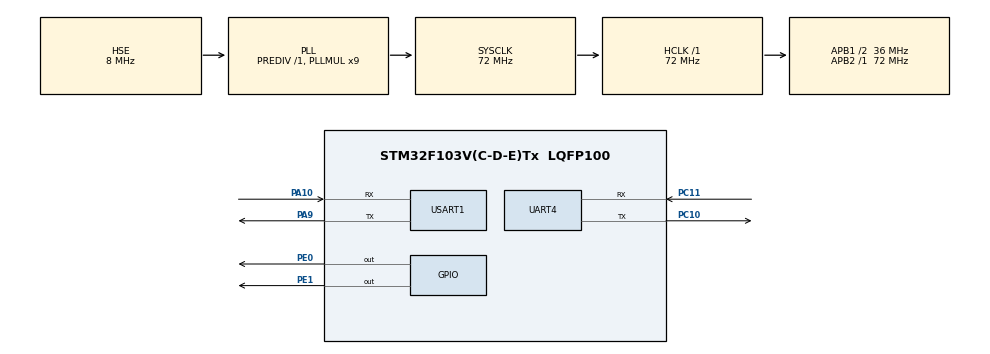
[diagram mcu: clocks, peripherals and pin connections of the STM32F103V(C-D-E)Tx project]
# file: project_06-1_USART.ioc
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Mcu.Family=STM32F1
Mcu.Name=STM32F103V(C-D-E)Tx
Mcu.Package=LQFP100
NVIC.PriorityGroup=NVIC_PRIORITYGROUP_4
NVIC.TIM2_IRQn=true\:0\:0\:false\:false\:true\:true\:true
NVIC.UART4_IRQn=true\:0\:0\:false\:false\:true\:true\:true
NVIC.USART1_IRQn=true\:0\:0\:false\:false\:true\:true\:true
OSC_IN.Mode=HSE-External-Oscillator
OSC_IN.Signal=RCC_OSC_IN
OSC_OUT.Mode=HSE-External-Oscillator
OSC_OUT.Signal=RCC_OSC_OUT
PA10.Mode=Asynchronous
PA10.Signal=USART1_RX
PA13.Mode=Serial_Wire
PA13.Signal=SYS_JTMS-SWDIO
PA14.Mode=Serial_Wire
PA14.Signal=SYS_JTCK-SWCLK
PA9.Mode=Asynchronous
PA9.Signal=USART1_TX
PC10.Mode=Asynchronous
PC10.Signal=UART4_TX
PC11.Mode=Asynchronous
PC11.Signal=UART4_RX
PC14-OSC32_IN.Mode=LSE-External-Oscillator
PC14-OSC32_IN.Signal=RCC_OSC32_IN
PC15-OSC32_OUT.Mode=LSE-External-Oscillator
PC15-OSC32_OUT.Signal=RCC_OSC32_OUT
PE0.Signal=GPIO_Output
PE1.Signal=GPIO_Output
ProjectManager.HeapSize=0x200
ProjectManager.StackSize=0x400
ProjectManager.TargetToolchain=STM32CubeIDE
RCC.AHBFreq_Value=72000000
RCC.APB1CLKDivider=RCC_HCLK_DIV2
RCC.APB1Freq_Value=36000000
RCC.APB1TimFreq_Value=72000000
RCC.APB2Freq_Value=72000000
RCC.APB2TimFreq_Value=72000000
RCC.HCLKFreq_Value=72000000
RCC.PLLMUL=RCC_PLL_MUL9
RCC.PLLSourceVirtual=RCC_PLLSOURCE_HSE
RCC.SYSCLKFreq_VALUE=72000000
RCC.SYSCLKSource=RCC_SYSCLKSOURCE_PLLCLK
RCC.USBFreq_Value=72000000
TIM2.Period=99
TIM2.Prescaler=71
UART4.VirtualMode=Asynchronous
USART1.VirtualMode=VM_ASYNC
VP_TIM2_VS_ClockSourceINT.Mode=Internal
board=custom

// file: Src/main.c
/* USER CODE BEGIN Header */
/**
  ******************************************************************************
  * @file           : main.c
  * @brief          : Main program body
  ******************************************************************************
  * @attention
  *
  * <h2><center>&copy; Copyright (c) 2020 STMicroelectronics.
  * All rights reserved.</center></h2>
  *
  * This software component is licensed by ST under BSD 3-Clause license,
  * the "License"; You may not use this file except in compliance with the
  * License. You may obtain a copy of the License at:
  *                        opensource.org/licenses/BSD-3-Clause
  *
  ******************************************************************************
  */
/* USER CODE END Header */

#include "main.h"

TIM_HandleTypeDef htim2;

UART_HandleTypeDef huart4;
UART_HandleTypeDef huart1;

void SystemClock_Config(void);
static void MX_GPIO_Init(void);
static void MX_TIM2_Init(void);
static void MX_USART1_UART_Init(void);
static void MX_UART4_Init(void);

/* USER CODE BEGIN 0 */
#define LED1_ON() HAL_GPIO_WritePin(GPIOE,GPIO_PIN_0,GPIO_PIN_RESET)
#define LED1_OFF() HAL_GPIO_WritePin(GPIOE,GPIO_PIN_0,GPIO_PIN_SET)
#define LED2_ON() HAL_GPIO_WritePin(GPIOE,GPIO_PIN_1,GPIO_PIN_RESET)
#define LED2_OFF() HAL_GPIO_WritePin(GPIOE,GPIO_PIN_1,GPIO_PIN_SET)

uint8_t Tx_str1[] = "hello world!\r\n";
uint8_t Tx_str2[] = "LED1 Open!\r\n";
uint8_t Tx_str3[] = "LED1 Closed!\r\n";
uint8_t Tx_str4[] = "UART4\r\n";
uint8_t Rx_dat = 0;

void HAL_UART_RxCpltCallback(UART_HandleTypeDef *huart){
    if (huart->Instance==USART1){
        if(Rx_dat == 0xa1)
        {
            LED1_ON();

            LED2_ON();
            HAL_UART_Transmit(&huart1,Tx_str2,sizeof(Tx_str2),10000);
            LED2_OFF();
            HAL_UART_Receive_IT(&huart1,&Rx_dat,1);
        }
        else if(Rx_dat == 0xa2)
        {
            LED1_OFF();

            LED2_ON();
            HAL_UART_Transmit(&huart1,Tx_str3,sizeof(Tx_str3),10000);
            LED2_OFF();
            HAL_UART_Receive_IT(&huart1,&Rx_dat,1);
        }
    } else if (huart->Instance==UART4){
        if(Rx_dat == 0xa3){
            LED2_ON();
            HAL_UART_Transmit(&huart4,Tx_str4,sizeof(Tx_str4),10000);
            LED2_OFF();
            HAL_UART_Receive_IT(&huart4,&Rx_dat,1);
        }
    }
}
/* USER CODE END 0 */

int main(void)
{

  /* MCU Configuration--------------------------------------------------------*/

  /* Reset of all peripherals, Initializes the Flash interface and the Systick. */
  HAL_Init();

  /* Configure the system clock */
  SystemClock_Config();

  /* Initialize all configured peripherals */
  MX_GPIO_Init();
  MX_TIM2_Init();
  MX_USART1_UART_Init();
  MX_UART4_Init();
  /* USER CODE BEGIN 2 */
    LED2_ON();
    HAL_UART_Transmit(&huart1,Tx_str1,sizeof(Tx_str1),10000);    //向上位机发送“hello world!”
    LED2_OFF();
    HAL_UART_Receive_IT(&huart1,&Rx_dat,1);
    /* USER CODE END 2 */

  /* Infinite loop */
  while (1)
  {

  }
}

void SystemClock_Config(void)
{
  RCC_OscInitTypeDef RCC_OscInitStruct = {0};
  RCC_ClkInitTypeDef RCC_ClkInitStruct = {0};

  /** Initializes the CPU, AH B and APB busses clocks
  */
  RCC_OscInitStruct.OscillatorType = RCC_OSCILLATORTYPE_HSE;
  RCC_OscInitStruct.HSEState = RCC_HSE_ON;
  RCC_OscInitStruct.HSEPredivValue = RCC_HSE_PREDIV_DIV1;
  RCC_OscInitStruct.HSIState = RCC_HSI_ON;
  RCC_OscInitStruct.PLL.PLLState = RCC_PLL_ON;
  RCC_OscInitStruct.PLL.PLLSource = RCC_PLLSOURCE_HSE;
  RCC_OscInitStruct.PLL.PLLMUL = RCC_PLL_MUL9;
  if (HAL_RCC_OscConfig(&RCC_OscInitStruct) != HAL_OK)
  {
    Error_Handler();
  }
  /** Initializes the CPU, AHB and APB busses clocks
  */
  RCC_ClkInitStruct.ClockType = RCC_CLOCKTYPE_HCLK|RCC_CLOCKTYPE_SYSCLK
                              |RCC_CLOCKTYPE_PCLK1|RCC_CLOCKTYPE_PCLK2;
  RCC_ClkInitStruct.SYSCLKSource = RCC_SYSCLKSOURCE_PLLCLK;
  RCC_ClkInitStruct.AHBCLKDivider = RCC_SYSCLK_DIV1;
  RCC_ClkInitStruct.APB1CLKDivider = RCC_HCLK_DIV2;
  RCC_ClkInitStruct.APB2CLKDivider = RCC_HCLK_DIV1;

  if (HAL_RCC_ClockConfig(&RCC_ClkInitStruct, FLASH_LATENCY_2) != HAL_OK)
  {
    Error_Handler();
  }
}

static void MX_TIM2_Init(void)
{

  TIM_ClockConfigTypeDef sClockSourceConfig = {0};
  TIM_MasterConfigTypeDef sMasterConfig = {0};

  htim2.Instance = TIM2;
  htim2.Init.Prescaler = 71;
  htim2.Init.CounterMode = TIM_COUNTERMODE_UP;
  htim2.Init.Period = 99;
  htim2.Init.ClockDivision = TIM_CLOCKDIVISION_DIV1;
  htim2.Init.AutoReloadPreload = TIM_AUTORELOAD_PRELOAD_DISABLE;
  if (HAL_TIM_Base_Init(&htim2) != HAL_OK)
  {
    Error_Handler();
  }
  sClockSourceConfig.ClockSource = TIM_CLOCKSOURCE_INTERNAL;
  if (HAL_TIM_ConfigClockSource(&htim2, &sClockSourceConfig) != HAL_OK)
  {
    Error_Handler();
  }
  sMasterConfig.MasterOutputTrigger = TIM_TRGO_RESET;
  sMasterConfig.MasterSlaveMode = TIM_MASTERSLAVEMODE_DISABLE;
  if (HAL_TIMEx_MasterConfigSynchronization(&htim2, &sMasterConfig) != HAL_OK)
  {
    Error_Handler();
  }

}

static void MX_UART4_Init(void)
{

  huart4.Instance = UART4;
  huart4.Init.BaudRate = 115200;
  huart4.Init.WordLength = UART_WORDLENGTH_8B;
  huart4.Init.StopBits = UART_STOPBITS_1;
  huart4.Init.Parity = UART_PARITY_NONE;
  huart4.Init.Mode = UART_MODE_TX_RX;
  huart4.Init.HwFlowCtl = UART_HWCONTROL_NONE;
  huart4.Init.OverSampling = UART_OVERSAMPLING_16;
  if (HAL_UART_Init(&huart4) != HAL_OK)
  {
    Error_Handler();
  }

}

static void MX_USART1_UART_Init(void)
{

  huart1.Instance = USART1;
  huart1.Init.BaudRate = 115200;
  huart1.Init.WordLength = UART_WORDLENGTH_8B;
  huart1.Init.StopBits = UART_STOPBITS_1;
  huart1.Init.Parity = UART_PARITY_NONE;
  huart1.Init.Mode = UART_MODE_TX_RX;
  huart1.Init.HwFlowCtl = UART_HWCONTROL_NONE;
  huart1.Init.OverSampling = UART_OVERSAMPLING_16;
  if (HAL_UART_Init(&huart1) != HAL_OK)
  {
    Error_Handler();
  }

}

static void MX_GPIO_Init(void)
{
  GPIO_InitTypeDef GPIO_InitStruct = {0};

  /* GPIO Ports Clock Enable */
  __HAL_RCC_GPIOC_CLK_ENABLE();
  __HAL_RCC_GPIOA_CLK_ENABLE();
  __HAL_RCC_GPIOE_CLK_ENABLE();

  /*Configure GPIO pin Output Level */
  HAL_GPIO_WritePin(GPIOE, GPIO_PIN_0|GPIO_PIN_1, GPIO_PIN_SET);

  /*Configure GPIO pins : PE0 PE1 */
  GPIO_InitStruct.Pin = GPIO_PIN_0|GPIO_PIN_1;
  GPIO_InitStruct.Mode = GPIO_MODE_OUTPUT_PP;
  GPIO_InitStruct.Pull = GPIO_NOPULL;
  GPIO_InitStruct.Speed = GPIO_SPEED_FREQ_LOW;
  HAL_GPIO_Init(GPIOE, &GPIO_InitStruct);

}

void Error_Handler(void)
{
}

/************************ (C) COPYRIGHT STMicroelectronics *****END OF FILE****/
